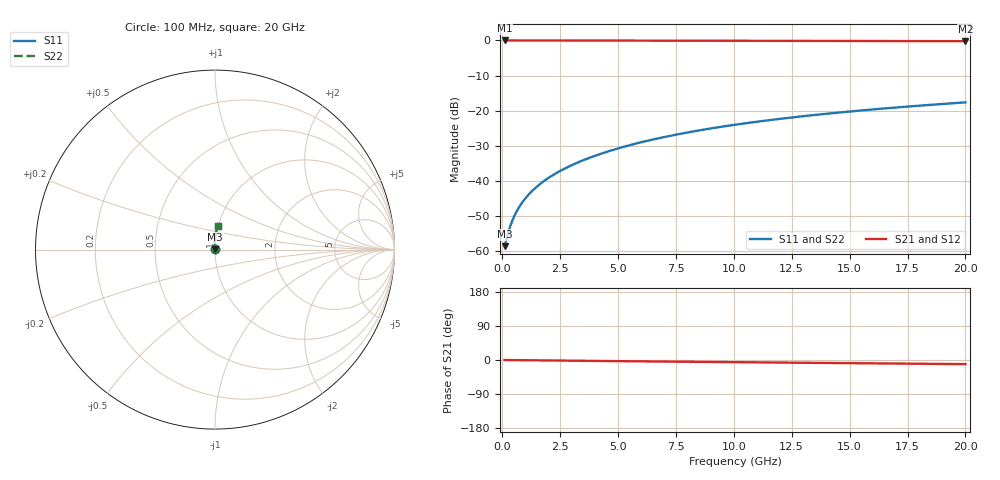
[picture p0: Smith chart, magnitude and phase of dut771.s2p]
! Touchstone file exported from HFSS 2024.1.0
!  File:  C:/UserFiles/LocalFiles/RDL_TSV_Batchsim/temp_RDL_bottom_771_1779860614.aedt
!  Generated:  01:46:23 PM May 27, 2026
!  Design:  RDL_bottom
!  Project:  temp_RDL_bottom_771_1779860614
!  Setup:  Setup1
!  Solution:  Sweep
! Variables:
!  dtsv = 10.80580581um
!  hbump = 3um
!  htsv = 61.76um
!  ldown = 105.59um
!  lrdl = 100um
!  p = 40
!  p1 = 58.74um
!  rhole = 1um
!  t = 450um
!  tdown = 2.26um
!  trdl = 3.915915916um
!  wdown = 29.06um
!  wrdl = 20um
# GHz S MA R 50.000000
! Terminal data exported
! Port[1] = RDL1_T1
! Port[2] = RDL1_T2
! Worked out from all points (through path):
!   200 points, 100 MHz to 20 GHz, reference 50 ohm
!   highest |S21| = -0.01 dB at 100 MHz (marker M1); lowest = -0.2 dB at 20 GHz (marker M2)
!   group delay of S21, straight-line fit = 1.49 ps
!   lowest |S11| = -58.6 dB at 100 MHz (marker M3), VSWR 1.00, Z = 50.1 + j0.0593 ohm
!   |S11| at or under -10 dB: start of sweep to end of sweep
!   |S22| runs from -58.6 to -17.7 dB; largest |S21 - S12| = 4e-15
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0.1  0.00117 30.4  0.999 -0.1  0.999 -0.1  0.00117 30.4
! Gamma 0 0 0 0
! Port Impedance 50 0 50 0
0.3  0.00204 58.6  0.9989 -0.2  0.9989 -0.2  0.00204 58.6
0.4  0.002541 64.6  0.9989 -0.3  0.9989 -0.3  0.002541 64.6
0.5  0.00305 68.6  0.9988 -0.3  0.9988 -0.3  0.00305 68.6
0.6  0.003561 71.6  0.9987 -0.4  0.9987 -0.4  0.003561 71.6
0.8  0.004591 75.7  0.9986 -0.5  0.9986 -0.5  0.004591 75.7
1.1  0.006156 79.7  0.9985 -0.7  0.9985 -0.7  0.006156 79.7
1.3  0.007214 81.6  0.9984 -0.8  0.9984 -0.8  0.007214 81.6
1.6  0.008825 83.7  0.9982 -1.0  0.9982 -1.0  0.008825 83.7
2.1  0.01157 86.1  0.9978 -1.3  0.9978 -1.3  0.01157 86.1
2.7  0.01496 88.1  0.9972 -1.7  0.9972 -1.7  0.01496 88.1
3.5  0.01965 89.7  0.9963 -2.2  0.9963 -2.2  0.01965 89.7
4.2  0.0239 90.6  0.9955 -2.6  0.9955 -2.6  0.0239 90.6
5  0.02892 91.2  0.9944 -3.0  0.9944 -3.0  0.02892 91.2
5.9  0.03474 91.4  0.9932 -3.5  0.9932 -3.5  0.03474 91.4
6.8  0.04071 91.4  0.992 -4.0  0.992 -4.0  0.04071 91.4
8.4  0.05155 90.9  0.9898 -4.9  0.9898 -4.9  0.05155 90.9
10.1  0.06325 90.0  0.9877 -5.8  0.9877 -5.8  0.06325 90.0
11.7  0.07432 89.0  0.9857 -6.6  0.9857 -6.6  0.07432 89.0
13.4  0.08607 87.8  0.9837 -7.5  0.9837 -7.5  0.08607 87.8
16.7  0.1087 85.6  0.9798 -9.2  0.9798 -9.2  0.1087 85.6
20  0.131 83.3  0.9758 -10.9  0.9758 -10.9  0.131 83.3
